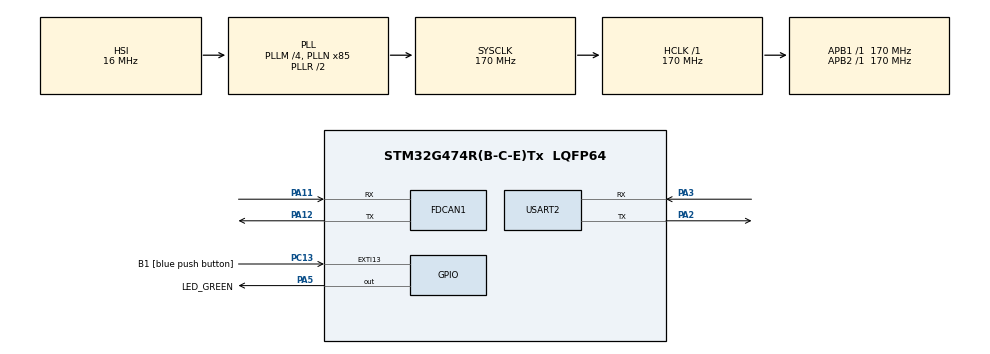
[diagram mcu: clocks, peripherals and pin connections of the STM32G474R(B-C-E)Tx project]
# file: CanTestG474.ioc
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FDCAN1.CalculateBaudRateNominal=100117
FDCAN1.CalculateTimeBitNominal=9988
FDCAN1.CalculateTimeQuantumNominal=3329.4117647058824
FDCAN1.ClockDivider=FDCAN_CLOCK_DIV2
FDCAN1.NominalPrescaler=283
FREERTOS.BinarySemaphores01=semCanTx,Dynamic,NULL,Available
FREERTOS.Tasks01=defaultTask,24,128,StartDefaultTask,Default,NULL,Dynamic,NULL,NULL
Mcu.Family=STM32G4
Mcu.Name=STM32G474R(B-C-E)Tx
Mcu.Package=LQFP64
NVIC.EXTI15_10_IRQn=true\:5\:0\:false\:false\:true\:true\:true\:true\:true
NVIC.FDCAN1_IT0_IRQn=true\:5\:0\:false\:false\:true\:true\:true\:true\:true
NVIC.FDCAN1_IT1_IRQn=true\:5\:0\:false\:false\:true\:true\:true\:true\:true
NVIC.PriorityGroup=NVIC_PRIORITYGROUP_4
NVIC.TIM6_DAC_IRQn=true\:15\:0\:false\:false\:true\:false\:false\:true\:true
NVIC.TimeBase=TIM6_DAC_IRQn
NVIC.TimeBaseIP=TIM6
PA11.GPIO_PuPd=GPIO_PULLUP
PA11.GPIO_Speed=GPIO_SPEED_FREQ_VERY_HIGH
PA11.Mode=FDCAN_Activate
PA11.Signal=FDCAN1_RX
PA12.GPIO_PuPd=GPIO_PULLUP
PA12.GPIO_Speed=GPIO_SPEED_FREQ_VERY_HIGH
PA12.Mode=FDCAN_Activate
PA12.Signal=FDCAN1_TX
PA13.GPIO_Label=T_SWDIO
PA13.Mode=Trace_Asynchronous_SW
PA13.Signal=SYS_JTMS-SWDIO
PA14.GPIO_Label=T_SWCLK
PA14.Mode=Trace_Asynchronous_SW
PA14.Signal=SYS_JTCK-SWCLK
PA2.Mode=Asynchronous
PA2.Signal=USART2_TX
PA3.Mode=Asynchronous
PA3.Signal=USART2_RX
PA5.GPIO_Label=LED_GREEN
PA5.Signal=GPIO_Output
PB3.GPIO_Label=T_SWO
PB3.Mode=Trace_Asynchronous_SW
PB3.Signal=SYS_JTDO-SWO
PC13.GPIO_Label=B1 [blue push button]
PC13.Signal=GPXTI13
PC14-OSC32_IN.GPIO_Label=RCC_OSC32_IN
PC14-OSC32_IN.Signal=RCC_OSC32_IN
PC15-OSC32_OUT.GPIO_Label=RCC_OSC32_OUT
PC15-OSC32_OUT.Signal=RCC_OSC32_OUT
PF0-OSC_IN.GPIO_Label=RCC_OSC_IN
PF0-OSC_IN.Signal=RCC_OSC_IN
PF1-OSC_OUT.GPIO_Label=RCC_OSC_OUT
PF1-OSC_OUT.Signal=RCC_OSC_OUT
ProjectManager.HeapSize=0x200
ProjectManager.StackSize=0x400
ProjectManager.TargetToolchain=STM32CubeIDE
RCC.ADC12Freq_Value=170000000
RCC.ADC345Freq_Value=170000000
RCC.AHBFreq_Value=170000000
RCC.APB1Freq_Value=170000000
RCC.APB1TimFreq_Value=170000000
RCC.APB2Freq_Value=170000000
RCC.APB2TimFreq_Value=170000000
RCC.CortexFreq_Value=170000000
RCC.EXTERNAL_CLOCK_VALUE=12288000
RCC.HCLKFreq_Value=170000000
RCC.HSE_VALUE=24000000
RCC.HSI48_VALUE=48000000
RCC.HSI_VALUE=16000000
RCC.LSE_VALUE=32768
RCC.PLLM=RCC_PLLM_DIV4
RCC.PLLN=85
RCC.RTCClockSelection=RCC_RTCCLKSOURCE_LSE
RCC.SYSCLKFreq_VALUE=170000000
RCC.SYSCLKSource=RCC_SYSCLKSOURCE_PLLCLK
RCC.USBFreq_Value=170000000
RCC.VCOOutputFreq_Value=340000000
USART2.VirtualMode-Asynchronous=VM_ASYNC
VP_FREERTOS_VS_CMSIS_V2.Mode=CMSIS_V2
VP_SYS_VS_DBSignals.Mode=DisableDeadBatterySignals
VP_SYS_VS_tim6.Mode=TIM6
board=NUCLEO-G474RE

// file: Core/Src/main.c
/* USER CODE BEGIN Header */
/**
  ******************************************************************************
  * @file           : main.c
  * @brief          : Main program body
  ******************************************************************************
  * @attention
  *
  * Copyright (c) 2024 STMicroelectronics.
  * All rights reserved.
  *
  * This software is licensed under terms that can be found in the LICENSE file
  * in the root directory of this software component.
  * If no LICENSE file comes with this software, it is provided AS-IS.
  *
  ******************************************************************************
  */
/* USER CODE END Header */
#include "main.h"
#include "cmsis_os.h"

/* USER CODE BEGIN Includes */

#include <stdio.h>
#include <string.h>

/* USER CODE END Includes */

FDCAN_HandleTypeDef hfdcan1;

UART_HandleTypeDef huart2;

/* Definitions for defaultTask */
osThreadId_t defaultTaskHandle;
const osThreadAttr_t defaultTask_attributes = {
  .name = "defaultTask",
  .priority = (osPriority_t) osPriorityNormal,
  .stack_size = 128 * 4
};
/* Definitions for semCanTx */
osSemaphoreId_t semCanTxHandle;
const osSemaphoreAttr_t semCanTx_attributes = {
  .name = "semCanTx"
};

void SystemClock_Config(void);
static void MX_GPIO_Init(void);
static void MX_FDCAN1_Init(void);
static void MX_USART2_UART_Init(void);
void StartDefaultTask(void *argument);

/* USER CODE BEGIN 0 */

int _write(int file, char *data, int len)
{
	HAL_UART_Transmit(&huart2, (uint8_t*)data, len, 100);
	return len;
}

/* USER CODE END 0 */

int main(void)
{

  /* MCU Configuration--------------------------------------------------------*/

  /* Reset of all peripherals, Initializes the Flash interface and the Systick. */
  HAL_Init();

  /* Configure the system clock */
  SystemClock_Config();

  /* Initialize all configured peripherals */
  MX_GPIO_Init();
  MX_FDCAN1_Init();
  MX_USART2_UART_Init();

  /* Init scheduler */
  osKernelInitialize();

  /* Create the semaphores(s) */
  /* creation of semCanTx */
  semCanTxHandle = osSemaphoreNew(1, 1, &semCanTx_attributes);

  /* Create the thread(s) */
  /* creation of defaultTask */
  defaultTaskHandle = osThreadNew(StartDefaultTask, NULL, &defaultTask_attributes);

  /* Start scheduler */
  osKernelStart();

  /* We should never get here as control is now taken by the scheduler */

  /* Infinite loop */
  while (1)
  {

  }
}

void SystemClock_Config(void)
{
  RCC_OscInitTypeDef RCC_OscInitStruct = {0};
  RCC_ClkInitTypeDef RCC_ClkInitStruct = {0};

  /** Configure the main internal regulator output voltage
  */
  HAL_PWREx_ControlVoltageScaling(PWR_REGULATOR_VOLTAGE_SCALE1_BOOST);

  /** Initializes the RCC Oscillators according to the specified parameters
  * in the RCC_OscInitTypeDef structure.
  */
  RCC_OscInitStruct.OscillatorType = RCC_OSCILLATORTYPE_HSI;
  RCC_OscInitStruct.HSIState = RCC_HSI_ON;
  RCC_OscInitStruct.HSICalibrationValue = RCC_HSICALIBRATION_DEFAULT;
  RCC_OscInitStruct.PLL.PLLState = RCC_PLL_ON;
  RCC_OscInitStruct.PLL.PLLSource = RCC_PLLSOURCE_HSI;
  RCC_OscInitStruct.PLL.PLLM = RCC_PLLM_DIV4;
  RCC_OscInitStruct.PLL.PLLN = 85;
  RCC_OscInitStruct.PLL.PLLP = RCC_PLLP_DIV2;
  RCC_OscInitStruct.PLL.PLLQ = RCC_PLLQ_DIV2;
  RCC_OscInitStruct.PLL.PLLR = RCC_PLLR_DIV2;
  if (HAL_RCC_OscConfig(&RCC_OscInitStruct) != HAL_OK)
  {
    Error_Handler();
  }

  /** Initializes the CPU, AHB and APB buses clocks
  */
  RCC_ClkInitStruct.ClockType = RCC_CLOCKTYPE_HCLK|RCC_CLOCKTYPE_SYSCLK
                              |RCC_CLOCKTYPE_PCLK1|RCC_CLOCKTYPE_PCLK2;
  RCC_ClkInitStruct.SYSCLKSource = RCC_SYSCLKSOURCE_PLLCLK;
  RCC_ClkInitStruct.AHBCLKDivider = RCC_SYSCLK_DIV1;
  RCC_ClkInitStruct.APB1CLKDivider = RCC_HCLK_DIV1;
  RCC_ClkInitStruct.APB2CLKDivider = RCC_HCLK_DIV1;

  if (HAL_RCC_ClockConfig(&RCC_ClkInitStruct, FLASH_LATENCY_4) != HAL_OK)
  {
    Error_Handler();
  }
}

static void MX_FDCAN1_Init(void)
{

  hfdcan1.Instance = FDCAN1;
  hfdcan1.Init.ClockDivider = FDCAN_CLOCK_DIV2;
  hfdcan1.Init.FrameFormat = FDCAN_FRAME_CLASSIC;
  hfdcan1.Init.Mode = FDCAN_MODE_NORMAL;
  hfdcan1.Init.AutoRetransmission = DISABLE;
  hfdcan1.Init.TransmitPause = DISABLE;
  hfdcan1.Init.ProtocolException = DISABLE;
  hfdcan1.Init.NominalPrescaler = 283;
  hfdcan1.Init.NominalSyncJumpWidth = 1;
  hfdcan1.Init.NominalTimeSeg1 = 1;
  hfdcan1.Init.NominalTimeSeg2 = 1;
  hfdcan1.Init.DataPrescaler = 1;
  hfdcan1.Init.DataSyncJumpWidth = 1;
  hfdcan1.Init.DataTimeSeg1 = 1;
  hfdcan1.Init.DataTimeSeg2 = 1;
  hfdcan1.Init.StdFiltersNbr = 0;
  hfdcan1.Init.ExtFiltersNbr = 0;
  hfdcan1.Init.TxFifoQueueMode = FDCAN_TX_FIFO_OPERATION;
  if (HAL_FDCAN_Init(&hfdcan1) != HAL_OK)
  {
    Error_Handler();
  }
  /* USER CODE BEGIN FDCAN1_Init 2 */

  FDCAN_FilterTypeDef canFilterConfig;
  canFilterConfig.IdType = FDCAN_STANDARD_ID;
  canFilterConfig.FilterIndex = 0;
  canFilterConfig.FilterType = FDCAN_FILTER_RANGE;
  canFilterConfig.FilterConfig = FDCAN_FILTER_TO_RXFIFO0;
  canFilterConfig.FilterID1 = 0x000;
  canFilterConfig.FilterID2 = 0x010;

  if (HAL_FDCAN_ConfigFilter(&hfdcan1, &canFilterConfig) != HAL_OK)
  {
	  Error_Handler();
  }

  /* USER CODE END FDCAN1_Init 2 */

}

static void MX_USART2_UART_Init(void)
{

  huart2.Instance = USART2;
  huart2.Init.BaudRate = 115200;
  huart2.Init.WordLength = UART_WORDLENGTH_8B;
  huart2.Init.StopBits = UART_STOPBITS_1;
  huart2.Init.Parity = UART_PARITY_NONE;
  huart2.Init.Mode = UART_MODE_TX_RX;
  huart2.Init.HwFlowCtl = UART_HWCONTROL_NONE;
  huart2.Init.OverSampling = UART_OVERSAMPLING_16;
  huart2.Init.OneBitSampling = UART_ONE_BIT_SAMPLE_DISABLE;
  huart2.Init.ClockPrescaler = UART_PRESCALER_DIV1;
  huart2.AdvancedInit.AdvFeatureInit = UART_ADVFEATURE_NO_INIT;
  if (HAL_UART_Init(&huart2) != HAL_OK)
  {
    Error_Handler();
  }
  if (HAL_UARTEx_SetTxFifoThreshold(&huart2, UART_TXFIFO_THRESHOLD_1_8) != HAL_OK)
  {
    Error_Handler();
  }
  if (HAL_UARTEx_SetRxFifoThreshold(&huart2, UART_RXFIFO_THRESHOLD_1_8) != HAL_OK)
  {
    Error_Handler();
  }
  if (HAL_UARTEx_DisableFifoMode(&huart2) != HAL_OK)
  {
    Error_Handler();
  }

}

static void MX_GPIO_Init(void)
{
  GPIO_InitTypeDef GPIO_InitStruct = {0};

  /* GPIO Ports Clock Enable */
  __HAL_RCC_GPIOC_CLK_ENABLE();
  __HAL_RCC_GPIOF_CLK_ENABLE();
  __HAL_RCC_GPIOA_CLK_ENABLE();
  __HAL_RCC_GPIOB_CLK_ENABLE();

  /*Configure GPIO pin Output Level */
  HAL_GPIO_WritePin(LED_GREEN_GPIO_Port, LED_GREEN_Pin, GPIO_PIN_RESET);

  /*Configure GPIO pin : B1_Pin */
  GPIO_InitStruct.Pin = B1_Pin;
  GPIO_InitStruct.Mode = GPIO_MODE_IT_RISING;
  GPIO_InitStruct.Pull = GPIO_NOPULL;
  HAL_GPIO_Init(B1_GPIO_Port, &GPIO_InitStruct);

  /*Configure GPIO pin : LED_GREEN_Pin */
  GPIO_InitStruct.Pin = LED_GREEN_Pin;
  GPIO_InitStruct.Mode = GPIO_MODE_OUTPUT_PP;
  GPIO_InitStruct.Pull = GPIO_NOPULL;
  GPIO_InitStruct.Speed = GPIO_SPEED_FREQ_LOW;
  HAL_GPIO_Init(LED_GREEN_GPIO_Port, &GPIO_InitStruct);

  /* EXTI interrupt init*/
  HAL_NVIC_SetPriority(EXTI15_10_IRQn, 5, 0);
  HAL_NVIC_EnableIRQ(EXTI15_10_IRQn);

}

/* USER CODE BEGIN 4 */

//void HAL_FDCAN_TxCompleteCallback(FDCAN_HandleTypeDef *hfdcan)
void HAL_FDCAN_TxBufferCompleteCallback(FDCAN_HandleTypeDef *hfdcan, uint32_t BufferIndexes)
{
	if (hfdcan->Instance == FDCAN1)
	{
		// Transmission complete
		// Add your code here
		osSemaphoreRelease(semCanTxHandle);
		HAL_GPIO_TogglePin(LED_GREEN_GPIO_Port, LED_GREEN_Pin);
	}
}

/* USER CODE END 4 */

void StartDefaultTask(void *argument)
{
  /* USER CODE BEGIN 5 */
    if (HAL_FDCAN_Start(&hfdcan1) != HAL_OK)
    {
        // Start Error
        Error_Handler();
    }

    if (HAL_FDCAN_ActivateNotification(&hfdcan1, FDCAN_IT_TX_COMPLETE, FDCAN_TX_BUFFER0 | FDCAN_TX_BUFFER1 | FDCAN_TX_BUFFER2) != HAL_OK)
    {
        // Notification Error
        Error_Handler();
    }

	FDCAN_TxHeaderTypeDef txHeader;
	txHeader.Identifier = 0x006;
	txHeader.IdType = FDCAN_STANDARD_ID;
	txHeader.TxFrameType = FDCAN_DATA_FRAME;
	txHeader.DataLength = FDCAN_DLC_BYTES_8;
	txHeader.ErrorStateIndicator = FDCAN_ESI_ACTIVE;
	txHeader.BitRateSwitch = FDCAN_BRS_OFF;
	txHeader.FDFormat = FDCAN_CLASSIC_CAN;
	txHeader.TxEventFifoControl = FDCAN_NO_TX_EVENTS;
	txHeader.MessageMarker = 0;

	uint8_t txData[8] = {'C', 'A', 'N', ' ', 'm', 'e', 's', 'g'};

	printf("CANFD tx interrupt example CMSIS OS2\r\n");
  /* Infinite loop */
	for(;;)
	{
		osSemaphoreAcquire(semCanTxHandle, osWaitForever);

		if (HAL_FDCAN_AddMessageToTxFifoQ(&hfdcan1, &txHeader, txData) != HAL_OK)
		{
			// Transmission request Error
			Error_Handler();
		}
	}
  /* USER CODE END 5 */
}

void HAL_TIM_PeriodElapsedCallback(TIM_HandleTypeDef *htim)
{
  if (htim->Instance == TIM6) {
    HAL_IncTick();
  }
}

void Error_Handler(void)
{
  /* USER CODE BEGIN Error_Handler_Debug */
  /* User can add his own implementation to report the HAL error return state */
  __disable_irq();
  while (1)
  {
	  HAL_GPIO_TogglePin(LED_GREEN_GPIO_Port, LED_GREEN_Pin);
	  HAL_Delay(100);
  }
  /* USER CODE END Error_Handler_Debug */
}
